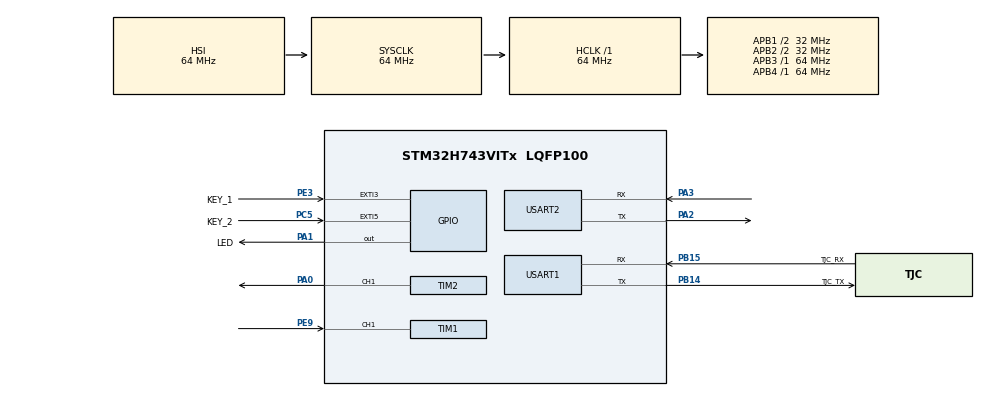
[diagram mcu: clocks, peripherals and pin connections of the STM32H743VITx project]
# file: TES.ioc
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CORTEX_M7.AccessPermission-Cortex_Memory_Protection_Unit_Region0_Settings=MPU_REGION_FULL_ACCESS
CORTEX_M7.AccessPermission_Spec=MPU_REGION_FULL_ACCESS
CORTEX_M7.BaseAddress-Cortex_Memory_Protection_Unit_Region0_Settings=0x0
CORTEX_M7.BaseAddress_Spec=0x24000000
CORTEX_M7.CPU_DCache=Enabled
CORTEX_M7.CPU_ICache=Enabled
CORTEX_M7.DisableExec_Spec=MPU_INSTRUCTION_ACCESS_ENABLE
CORTEX_M7.Enable-Cortex_Memory_Protection_Unit_Region0_Settings=MPU_REGION_ENABLE
CORTEX_M7.Enable_S-Cortex_Memory_Protection_Unit_Region1_Settings_S=__NULL
CORTEX_M7.IsBufferable_Spec=MPU_ACCESS_NOT_BUFFERABLE
CORTEX_M7.IsCacheable_Spec=MPU_ACCESS_NOT_CACHEABLE
CORTEX_M7.IsShareable_Spec=MPU_ACCESS_NOT_SHAREABLE
CORTEX_M7.MPU_Control=MPU_PRIVILEGED_DEFAULT
CORTEX_M7.Size-Cortex_Memory_Protection_Unit_Region0_Settings=MPU_REGION_SIZE_16KB
CORTEX_M7.Size_Spec=MPU_REGION_SIZE_16KB
CORTEX_M7.SubRegionDisable_Spec=0x0
CORTEX_M7.TypeExtField_Spec=MPU_TEX_LEVEL0
CORTEX_M7.default_mode_Activation=1
Mcu.Family=STM32H7
Mcu.Name=STM32H743VITx
Mcu.Package=LQFP100
NVIC.EXTI3_IRQn=true\:0\:0\:false\:false\:true\:true\:true\:true
NVIC.EXTI9_5_IRQn=true\:0\:0\:false\:false\:true\:true\:true\:true
NVIC.PriorityGroup=NVIC_PRIORITYGROUP_4
NVIC.TIM1_BRK_IRQn=true\:5\:0\:true\:false\:true\:true\:true\:true
NVIC.TIM1_CC_IRQn=true\:2\:0\:true\:false\:true\:true\:true\:true
NVIC.TIM1_TRG_COM_IRQn=true\:3\:0\:true\:false\:true\:true\:true\:true
NVIC.TIM1_UP_IRQn=true\:4\:0\:true\:false\:true\:true\:true\:true
PA0.GPIO_PuPd=GPIO_PULLDOWN
PA0.Signal=S_TIM2_CH1_ETR
PA1.GPIO_Label=LED
PA1.Signal=GPIO_Output
PA2.Mode=Asynchronous
PA2.Signal=USART2_TX
PA3.Mode=Asynchronous
PA3.Signal=USART2_RX
PB14.GPIO_Label=TJC_TX
PB14.Mode=Asynchronous
PB14.Signal=USART1_TX
PB15.GPIO_Label=TJC_RX
PB15.Mode=Asynchronous
PB15.Signal=USART1_RX
PC14-OSC32_IN\ (OSC32_IN).Mode=LSE-External-Oscillator
PC14-OSC32_IN\ (OSC32_IN).Signal=RCC_OSC32_IN
PC15-OSC32_OUT\ (OSC32_OUT).Mode=LSE-External-Oscillator
PC15-OSC32_OUT\ (OSC32_OUT).Signal=RCC_OSC32_OUT
PC5.GPIO_Label=KEY_2
PC5.GPIO_ModeDefaultEXTI=GPIO_MODE_IT_FALLING
PC5.GPIO_PuPd=GPIO_PULLUP
PC5.Signal=GPXTI5
PE3.GPIO_Label=KEY_1
PE3.GPIO_ModeDefaultEXTI=GPIO_MODE_IT_FALLING
PE3.GPIO_PuPd=GPIO_PULLUP
PE3.Signal=GPXTI3
PE9.GPIO_PuPd=GPIO_PULLDOWN
PE9.Signal=S_TIM1_CH1
PH0-OSC_IN\ (PH0).Mode=HSE-External-Oscillator
PH0-OSC_IN\ (PH0).Signal=RCC_OSC_IN
PH1-OSC_OUT\ (PH1).Mode=HSE-External-Oscillator
PH1-OSC_OUT\ (PH1).Signal=RCC_OSC_OUT
ProjectManager.HeapSize=0x200
ProjectManager.StackSize=0x400
ProjectManager.TargetToolchain=MDK-ARM V5.32
RCC.ADCFreq_Value=72000000
RCC.APB1Freq_Value=32000000
RCC.APB2Freq_Value=32000000
RCC.APB3Freq_Value=64000000
RCC.APB4Freq_Value=64000000
RCC.CortexFreq_Value=64000000
RCC.D2PPRE1=RCC_APB1_DIV2
RCC.D2PPRE2=RCC_APB2_DIV2
RCC.DIVM1=4
RCC.DIVM2=4
RCC.DIVM3=4
RCC.DIVN1=10
RCC.DIVN2=36
RCC.DIVN3=10
RCC.DIVP2=8
RCC.DIVP3=4
RCC.DIVQ3=4
RCC.HCLKFreq_Value=64000000
RCC.PLL1_VCI_Range-AdvancedSettings=RCC_PLL1VCIRANGE_0
RCC.PLL2FRACN=0
RCC.PLL3FRACN=0
RCC.PLLFRACN=0
RCC.SYSCLKFreq_VALUE=64000000
RCC.USBFreq_Value=80000000
SH.S_TIM1_CH1.0=TIM1_CH1,Input_Capture1_from_TI1
SH.S_TIM2_CH1_ETR.0=TIM2_CH1,PWM Generation1 CH1
TIM1.AutoReloadPreload=TIM_AUTORELOAD_PRELOAD_ENABLE
TIM1.Channel-Input_Capture1_from_TI1=TIM_CHANNEL_1
TIM1.ICFilter_CH1=8
TIM1.Prescaler=63
TIM2.AutoReloadPreload=TIM_AUTORELOAD_PRELOAD_ENABLE
TIM2.Channel-PWM\ Generation1\ CH1=TIM_CHANNEL_1
TIM2.OCPolarity_1=TIM_OCPOLARITY_HIGH
TIM2.Period=99
TIM2.Prescaler=63
USART1.VirtualMode-Asynchronous=VM_ASYNC
USART2.VirtualMode-Asynchronous=VM_ASYNC
VP_MEMORYMAP_VS_MEMORYMAP.Mode=CurAppReg
VP_TIM1_VS_ClockSourceINT.Mode=Internal
VP_TIM2_VS_ClockSourceINT.Mode=Internal
board=custom

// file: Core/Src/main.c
/* USER CODE BEGIN Header */
/**
  ******************************************************************************
  * @file           : main.c
  * @brief          : Main program body
  ******************************************************************************
  * @attention
  *
  * Copyright (c) 2025 STMicroelectronics.
  * All rights reserved.
  *
  * This software is licensed under terms that can be found in the LICENSE file
  * in the root directory of this software component.
  * If no LICENSE file comes with this software, it is provided AS-IS.
  *
  ******************************************************************************
  */
/* USER CODE END Header */
#include "main.h"
#include "memorymap.h"
#include "tim.h"
#include "usart.h"
#include "gpio.h"

/* USER CODE BEGIN Includes */
#include <stdio.h>
//
#include "TJC_Usart.h"
#include "t2uart.h"
#include "key.h"
#include "led.h"
#include "capture_freq.h"
/* USER CODE END Includes */

void SystemClock_Config(void);
static void MPU_Config(void);

/* USER CODE BEGIN 0 */
#define KEY0 (HAL_GPIO_ReadPin(GPIOA, GPIO_PIN_0))

uint8_t TD[5] = {0x11, 0x22, 0x33, 0x44, 0x55};

/* USER CODE END 0 */

int main(void)
{

  /* MPU Configuration--------------------------------------------------------*/
  MPU_Config();

  /* Enable the CPU Cache */

  /* Enable I-Cache---------------------------------------------------------*/
  SCB_EnableICache();

  /* Enable D-Cache---------------------------------------------------------*/
  SCB_EnableDCache();

  /* MCU Configuration--------------------------------------------------------*/

  /* Reset of all peripherals, Initializes the Flash interface and the Systick. */
  HAL_Init();

  /* USER CODE BEGIN Init */
  //num:要在一个正弦波中采集多少点
//*D:创建的一个数组用来存放正弦波各个点的数值的
//U:输出电压的峰值(0~1.5V)
//Pi:3.1415926 自己定义
  /* USER CODE END Init */

  /* Configure the system clock */
  SystemClock_Config();

  /* Initialize all configured peripherals */
  MX_GPIO_Init();
  MX_USART1_UART_Init();
  MX_USART2_UART_Init();
  MX_TIM2_Init();
  MX_TIM1_Init();
  /* USER CODE BEGIN 2 */
	Serial_TJC_SendTxt_2(1, "It's My Go!!!!!");
	Serial_TJC_SendTxt_2(2, "~");

  uint32_t set_freq = 2000;
  uint32_t set_duty = 73;
  __HAL_TIM_SetAutoreload(&htim2, 1000000 / set_freq - 1);
  __HAL_TIM_SetCompare(&htim2, TIM_CHANNEL_1, set_duty * 1000000 / 100 / (set_freq - 1));    //修改比较值，修改占空比
  HAL_TIM_PWM_Start(&htim2,TIM_CHANNEL_1);

  /* USER CODE END 2 */

  /* Infinite loop */
  while (1)
  {

    /* USER CODE BEGIN 3 */
    //printf("Freq:%dHz, Duty:%d\r\n", 1000, 50);
    work_Capture();
	  HAL_Delay(500);
  }
  /* USER CODE END 3 */
}

void SystemClock_Config(void)
{
  RCC_OscInitTypeDef RCC_OscInitStruct = {0};
  RCC_ClkInitTypeDef RCC_ClkInitStruct = {0};

  /** Supply configuration update enable
  */
  HAL_PWREx_ConfigSupply(PWR_LDO_SUPPLY);

  /** Configure the main internal regulator output voltage
  */
  __HAL_PWR_VOLTAGESCALING_CONFIG(PWR_REGULATOR_VOLTAGE_SCALE3);

  while(!__HAL_PWR_GET_FLAG(PWR_FLAG_VOSRDY)) {}

  /** Initializes the RCC Oscillators according to the specified parameters
  * in the RCC_OscInitTypeDef structure.
  */
  RCC_OscInitStruct.OscillatorType = RCC_OSCILLATORTYPE_HSI;
  RCC_OscInitStruct.HSIState = RCC_HSI_DIV1;
  RCC_OscInitStruct.HSICalibrationValue = RCC_HSICALIBRATION_DEFAULT;
  RCC_OscInitStruct.PLL.PLLState = RCC_PLL_NONE;
  if (HAL_RCC_OscConfig(&RCC_OscInitStruct) != HAL_OK)
  {
    Error_Handler();
  }

  /** Initializes the CPU, AHB and APB buses clocks
  */
  RCC_ClkInitStruct.ClockType = RCC_CLOCKTYPE_HCLK|RCC_CLOCKTYPE_SYSCLK
                              |RCC_CLOCKTYPE_PCLK1|RCC_CLOCKTYPE_PCLK2
                              |RCC_CLOCKTYPE_D3PCLK1|RCC_CLOCKTYPE_D1PCLK1;
  RCC_ClkInitStruct.SYSCLKSource = RCC_SYSCLKSOURCE_HSI;
  RCC_ClkInitStruct.SYSCLKDivider = RCC_SYSCLK_DIV1;
  RCC_ClkInitStruct.AHBCLKDivider = RCC_HCLK_DIV1;
  RCC_ClkInitStruct.APB3CLKDivider = RCC_APB3_DIV1;
  RCC_ClkInitStruct.APB1CLKDivider = RCC_APB1_DIV2;
  RCC_ClkInitStruct.APB2CLKDivider = RCC_APB2_DIV2;
  RCC_ClkInitStruct.APB4CLKDivider = RCC_APB4_DIV1;

  if (HAL_RCC_ClockConfig(&RCC_ClkInitStruct, FLASH_LATENCY_1) != HAL_OK)
  {
    Error_Handler();
  }
}

 /* MPU Configuration */

void MPU_Config(void)
{
  MPU_Region_InitTypeDef MPU_InitStruct = {0};

  /* Disables the MPU */
  HAL_MPU_Disable();

  /** Initializes and configures the Region and the memory to be protected
  */
  MPU_InitStruct.Enable = MPU_REGION_ENABLE;
  MPU_InitStruct.Number = MPU_REGION_NUMBER0;
  MPU_InitStruct.BaseAddress = 0x24000000;
  MPU_InitStruct.Size = MPU_REGION_SIZE_16KB;
  MPU_InitStruct.SubRegionDisable = 0x0;
  MPU_InitStruct.TypeExtField = MPU_TEX_LEVEL0;
  MPU_InitStruct.AccessPermission = MPU_REGION_FULL_ACCESS;
  MPU_InitStruct.DisableExec = MPU_INSTRUCTION_ACCESS_ENABLE;
  MPU_InitStruct.IsShareable = MPU_ACCESS_NOT_SHAREABLE;
  MPU_InitStruct.IsCacheable = MPU_ACCESS_NOT_CACHEABLE;
  MPU_InitStruct.IsBufferable = MPU_ACCESS_NOT_BUFFERABLE;

  HAL_MPU_ConfigRegion(&MPU_InitStruct);
  /* Enables the MPU */
  HAL_MPU_Enable(MPU_PRIVILEGED_DEFAULT);

}

void Error_Handler(void)
{
  __disable_irq();
  while (1)
  {
  }
}
